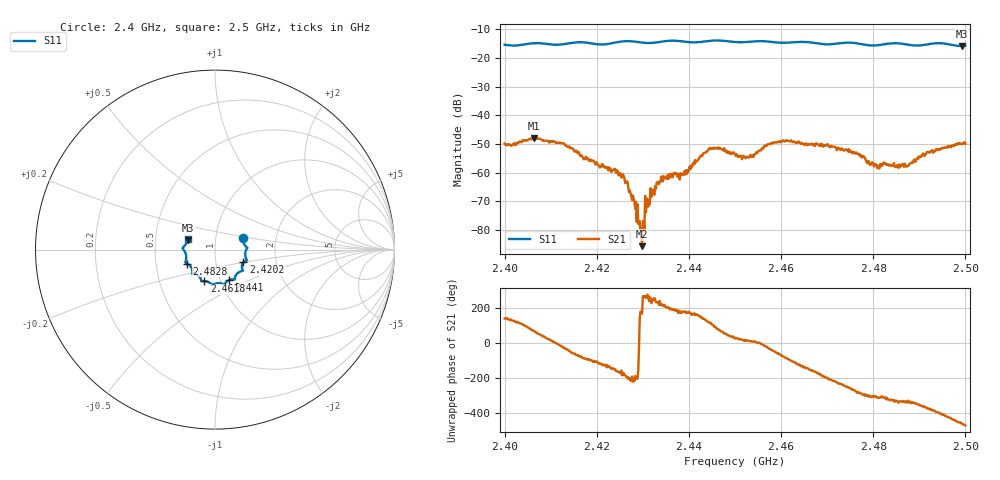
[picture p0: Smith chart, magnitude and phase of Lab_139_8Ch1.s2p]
# Hz S RI R 50
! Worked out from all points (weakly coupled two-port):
!   601 points, 2.4 GHz to 2.5 GHz, reference 50 ohm
!   highest |S21| = -48.05 dB at 2.4063 GHz (marker M1); lowest = -85.7 dB at 2.4298 GHz (marker M2)
!   lowest |S11| = -15.8 dB at 2.4993 GHz (marker M3), VSWR 1.39, Z = 36.6 + j3.87 ohm
!   |S11| at or under -10 dB: start of sweep to end of sweep
!   S12 and S22 are empty: the file has one direction only
!   S11 on the Smith chart (normalised r, x): 2.4 GHz: 1.36, +0.18; 2.4202 GHz: 1.36, -0.20; 2.441 GHz: 1.10, -0.39; 2.4618 GHz: 0.84, -0.30; 2.4828 GHz: 0.72, -0.12; 2.5 GHz: 0.73, +0.09
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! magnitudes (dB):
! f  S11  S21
! 2.4 GHz  -15.4  -49.9
! 2.4063 GHz  -14.9  -48.0
! 2.4125 GHz  -15.3  -49.8
! 2.4167 GHz  -14.5  -54.0
! 2.4202 GHz  -15.2  -57.3
! 2.4262 GHz  -14.1  -63.7
! 2.4298 GHz  -14.7  -85.7
! 2.431 GHz  -14.8  -69.2
! 2.4333 GHz  -14.5  -63.3
! 2.441 GHz  -14.6  -56.5
! 2.445 GHz  -14.0  -51.5
! 2.45 GHz  -14.5  -53.4
! 2.4527 GHz  -14.4  -54.7
! 2.4575 GHz  -14.3  -50.0
! 2.4618 GHz  -14.6  -49.1
! 2.4667 GHz  -14.6  -49.9
! 2.4828 GHz  -15.1  -57.3
! 2.4833 GHz  -15.0  -57.6
! 2.4875 GHz  -15.4  -57.7
! 2.4922 GHz  -15.1  -53.1
! 2.4993 GHz  -15.8  -50.0
! 2.5 GHz  -15.7  -50.0
